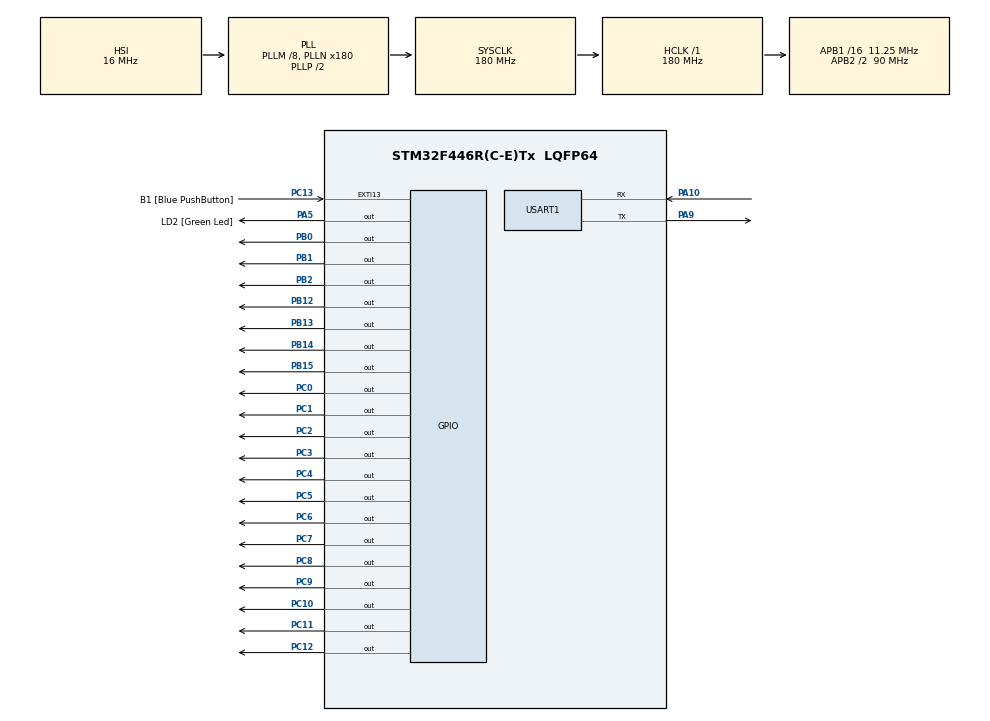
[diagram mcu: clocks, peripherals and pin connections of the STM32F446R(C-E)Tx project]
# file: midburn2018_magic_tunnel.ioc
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Mcu.Family=STM32F4
Mcu.Name=STM32F446R(C-E)Tx
Mcu.Package=LQFP64
NVIC.EXTI15_10_IRQn=true\:0\:0\:false\:false\:true\:true
NVIC.PriorityGroup=NVIC_PRIORITYGROUP_0
NVIC.TIM3_IRQn=true\:0\:0\:false\:false\:true\:true
NVIC.USART1_IRQn=true\:0\:0\:false\:false\:true\:true
PA10.Mode=Asynchronous
PA10.Signal=USART1_RX
PA13.GPIO_Label=TMS
PA13.Mode=Serial_Wire
PA13.Signal=SYS_JTMS-SWDIO
PA14.GPIO_Label=TCK
PA14.Mode=Serial_Wire
PA14.Signal=SYS_JTCK-SWCLK
PA2.Signal=USART2_TX
PA3.Signal=USART2_RX
PA5.GPIO_Label=LD2 [Green Led]
PA5.Signal=GPIO_Output
PA9.Mode=Asynchronous
PA9.Signal=USART1_TX
PB0.Signal=GPIO_Output
PB1.Signal=GPIO_Output
PB12.Signal=GPIO_Output
PB13.Signal=GPIO_Output
PB14.Signal=GPIO_Output
PB15.Signal=GPIO_Output
PB2.Signal=GPIO_Output
PB3.GPIO_Label=SWO
PB3.Signal=SYS_JTDO-SWO
PC0.Signal=GPIO_Output
PC1.Signal=GPIO_Output
PC10.Signal=GPIO_Output
PC11.Signal=GPIO_Output
PC12.Signal=GPIO_Output
PC13.GPIO_Label=B1 [Blue PushButton]
PC13.GPIO_ModeDefaultEXTI=GPIO_MODE_IT_FALLING
PC13.Signal=GPXTI13
PC14-OSC32_IN.Mode=LSE-External-Oscillator
PC14-OSC32_IN.Signal=RCC_OSC32_IN
PC15-OSC32_OUT.Mode=LSE-External-Oscillator
PC15-OSC32_OUT.Signal=RCC_OSC32_OUT
PC2.Signal=GPIO_Output
PC3.Signal=GPIO_Output
PC4.Signal=GPIO_Output
PC5.Signal=GPIO_Output
PC6.Signal=GPIO_Output
PC7.Signal=GPIO_Output
PC8.Signal=GPIO_Output
PC9.Signal=GPIO_Output
PH0-OSC_IN.Mode=HSE-External-Oscillator
PH0-OSC_IN.Signal=RCC_OSC_IN
PH1-OSC_OUT.Mode=HSE-External-Oscillator
PH1-OSC_OUT.Signal=RCC_OSC_OUT
ProjectManager.HeapSize=0x200
ProjectManager.StackSize=0x400
ProjectManager.TargetToolchain=TrueSTUDIO
RCC.48MHZClocksFreq_Value=84000000
RCC.AHBFreq_Value=180000000
RCC.APB1CLKDivider=RCC_HCLK_DIV16
RCC.APB1Freq_Value=11250000
RCC.APB1TimFreq_Value=22500000
RCC.APB2CLKDivider=RCC_HCLK_DIV2
RCC.APB2Freq_Value=90000000
RCC.APB2TimFreq_Value=180000000
RCC.CortexFreq_Value=180000000
RCC.FLatency-AdvancedSettings=FLASH_LATENCY_5
RCC.HCLKFreq_Value=180000000
RCC.HSE_VALUE=8000000
RCC.HSI_VALUE=16000000
RCC.PLLM=8
RCC.PLLN=180
RCC.SYSCLKFreq_VALUE=180000000
RCC.SYSCLKSource=RCC_SYSCLKSOURCE_PLLCLK
RCC.USBFreq_Value=180000000
RCC.VCOOutputFreq_Value=360000000
TIM3.ClockDivision=TIM_CLOCKDIVISION_DIV4
TIM3.Period=10000
TIM3.Prescaler=45000
USART1.VirtualMode=VM_ASYNC
VP_TIM3_VS_ClockSourceINT.Mode=Internal
board=NUCLEO-F446RE

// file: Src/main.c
/**
  ******************************************************************************
  * @file           : main.c
  * @brief          : Main program body
  ******************************************************************************
  ** This notice applies to any and all portions of this file
  * that are not between comment pairs USER CODE BEGIN and
  * USER CODE END. Other portions of this file, whether
  * inserted by the user or by software development tools
  * are owned by their respective copyright owners.
  *
  * COPYRIGHT(c) 2018 STMicroelectronics
  *
  * Redistribution and use in source and binary forms, with or without modification,
  * are permitted provided that the following conditions are met:
  *   1. Redistributions of source code must retain the above copyright notice,
  *      this list of conditions and the following disclaimer.
  *   2. Redistributions in binary form must reproduce the above copyright notice,
  *      this list of conditions and the following disclaimer in the documentation
  *      and/or other materials provided with the distribution.
  *   3. Neither the name of STMicroelectronics nor the names of its contributors
  *      may be used to endorse or promote products derived from this software
  *      without specific prior written permission.
  *
  * THIS SOFTWARE IS PROVIDED BY THE COPYRIGHT HOLDERS AND CONTRIBUTORS "AS IS"
  * AND ANY EXPRESS OR IMPLIED WARRANTIES, INCLUDING, BUT NOT LIMITED TO, THE
  * IMPLIED WARRANTIES OF MERCHANTABILITY AND FITNESS FOR A PARTICULAR PURPOSE ARE
  * DISCLAIMED. IN NO EVENT SHALL THE COPYRIGHT HOLDER OR CONTRIBUTORS BE LIABLE
  * FOR ANY DIRECT, INDIRECT, INCIDENTAL, SPECIAL, EXEMPLARY, OR CONSEQUENTIAL
  * DAMAGES (INCLUDING, BUT NOT LIMITED TO, PROCUREMENT OF SUBSTITUTE GOODS OR
  * SERVICES; LOSS OF USE, DATA, OR PROFITS; OR BUSINESS INTERRUPTION) HOWEVER
  * CAUSED AND ON ANY THEORY OF LIABILITY, WHETHER IN CONTRACT, STRICT LIABILITY,
  * OR TORT (INCLUDING NEGLIGENCE OR OTHERWISE) ARISING IN ANY WAY OUT OF THE USE
  * OF THIS SOFTWARE, EVEN IF ADVISED OF THE POSSIBILITY OF SUCH DAMAGE.
  *
  ******************************************************************************
  */
#include "main.h"
#include "stm32f4xx_hal.h"
#include "tim.h"
#include "usart.h"
#include "gpio.h"

/* USER CODE BEGIN Includes */
#include "ws2812b_multi_strip_driver.h"
#include "LED_shows.h"
#include "stdio.h"
#include "LED_cntrl_hci.h"
#include "scheduler.h"
#include "side_clouds.h"
/* USER CODE END Includes */

/* USER CODE BEGIN PV */
/* Private variables ---------------------------------------------------------*/
extern volatile show_db_t shows[NUM_OF_SHOWS];

show_cb_function shows_cb_functions[NUM_OF_SHOWS] = {snake_show_0, snake_show_1, snake_show_2, teady_bear, MeteorShow};
/* choose system type */
system_type_e system_type = SYSTEM_TYPE_TUNNEL;
//system_type_e system_type = SYSTEM_TYPE_SIDE_CLOUDS;
//system_type_e system_type = SYSTEM_TYPE_CLOUDS;

/* USER CODE END PV */

void SystemClock_Config(void);

/* USER CODE BEGIN PFP */
/* Private function prototypes -----------------------------------------------*/

/* USER CODE END PFP */

/* USER CODE BEGIN 0 */
/**
  * @brief  EXTI line detection callbacks. This function takes care of GPIOs changing states like the blue button.
  * @param  GPIO_Pin Specifies the pins connected EXTI line
  * @retval None
  */
void HAL_GPIO_EXTI_Callback(uint16_t GPIO_Pin)
{
/*    if (GPIO_Pin==B1_Pin)
    {
        if (shows[SHOWS_SNAKE_0].status == SHOW_STATUS_DISABLED)
        {
            shows[SHOWS_SNAKE_0].status = SHOW_STATUS_START;
        }
        else if (shows[SHOWS_SNAKE_0].status == SHOW_STATUS_RUNNING)
        {
            shows[SHOWS_SNAKE_0].status = SHOW_STATUS_STOP;
        }
    }*/
}

/* USER CODE END 0 */

int main(void)
{

  /* MCU Configuration----------------------------------------------------------*/

  /* Reset of all peripherals, Initializes the Flash interface and the Systick. */
  HAL_Init();

  /* Configure the system clock */
  SystemClock_Config();

  /* Initialize all configured peripherals */
  MX_GPIO_Init();
  MX_USART1_UART_Init();
  MX_TIM3_Init();
  /* USER CODE BEGIN 2 */
  init_LED_strips();
  init_shows();
  init_HCI_UART(&huart1);
  if (system_type == SYSTEM_TYPE_TUNNEL)
  {
      init_scheduler();
  }
  else if (system_type == SYSTEM_TYPE_SIDE_CLOUDS)
  {
      init_side_clouds_show();
  }
  else if (system_type == SYSTEM_TYPE_CLOUDS)
  {
      init_clouds();
      /* update shows db */
      shows[0].direction = REGULAR_DIRECTION;
      shows[0].max_power = DEFAULT_MAX_POWER;
      shows[0].status = SHOW_STATUS_RUNNING;

  }
  /* USER CODE END 2 */

  /* Infinite loop */
  /* USER CODE BEGIN WHILE */
  while (1)
  {
      uint8_t show_idx;

  /* USER CODE END WHILE */

  /* USER CODE BEGIN 3 */
      if (system_type == SYSTEM_TYPE_TUNNEL)
      {
          for (show_idx=0; show_idx<NUM_OF_SHOWS; show_idx++)
          {
              if (shows[show_idx].status == SHOW_STATUS_START)
              {
                  shows[show_idx].status = SHOW_STATUS_RUNNING;
                  shows_cb_functions[show_idx]();
                  if (shows[show_idx].status == SHOW_STATUS_STOP)
                  {
                      shows[show_idx].status = SHOW_STATUS_DISABLED;
                  }
              }
          }
      }
      else if (system_type == SYSTEM_TYPE_SIDE_CLOUDS)
      {
          side_clouds_show();
      }
      else if (system_type == SYSTEM_TYPE_CLOUDS)
      {
          snake_show_0();
      }

  }
  /* USER CODE END 3 */

}

void SystemClock_Config(void)
{

  RCC_OscInitTypeDef RCC_OscInitStruct;
  RCC_ClkInitTypeDef RCC_ClkInitStruct;

    /**Configure the main internal regulator output voltage
    */
  __HAL_RCC_PWR_CLK_ENABLE();

  __HAL_PWR_VOLTAGESCALING_CONFIG(PWR_REGULATOR_VOLTAGE_SCALE1);

    /**Initializes the CPU, AHB and APB busses clocks
    */
  RCC_OscInitStruct.OscillatorType = RCC_OSCILLATORTYPE_HSI;
  RCC_OscInitStruct.HSIState = RCC_HSI_ON;
  RCC_OscInitStruct.HSICalibrationValue = 16;
  RCC_OscInitStruct.PLL.PLLState = RCC_PLL_ON;
  RCC_OscInitStruct.PLL.PLLSource = RCC_PLLSOURCE_HSI;
  RCC_OscInitStruct.PLL.PLLM = 8;
  RCC_OscInitStruct.PLL.PLLN = 180;
  RCC_OscInitStruct.PLL.PLLP = RCC_PLLP_DIV2;
  RCC_OscInitStruct.PLL.PLLQ = 2;
  RCC_OscInitStruct.PLL.PLLR = 2;
  if (HAL_RCC_OscConfig(&RCC_OscInitStruct) != HAL_OK)
  {
    _Error_Handler(__FILE__, __LINE__);
  }

    /**Activate the Over-Drive mode
    */
  if (HAL_PWREx_EnableOverDrive() != HAL_OK)
  {
    _Error_Handler(__FILE__, __LINE__);
  }

    /**Initializes the CPU, AHB and APB busses clocks
    */
  RCC_ClkInitStruct.ClockType = RCC_CLOCKTYPE_HCLK|RCC_CLOCKTYPE_SYSCLK
                              |RCC_CLOCKTYPE_PCLK1|RCC_CLOCKTYPE_PCLK2;
  RCC_ClkInitStruct.SYSCLKSource = RCC_SYSCLKSOURCE_PLLCLK;
  RCC_ClkInitStruct.AHBCLKDivider = RCC_SYSCLK_DIV1;
  RCC_ClkInitStruct.APB1CLKDivider = RCC_HCLK_DIV16;
  RCC_ClkInitStruct.APB2CLKDivider = RCC_HCLK_DIV2;

  if (HAL_RCC_ClockConfig(&RCC_ClkInitStruct, FLASH_LATENCY_5) != HAL_OK)
  {
    _Error_Handler(__FILE__, __LINE__);
  }

    /**Configure the Systick interrupt time
    */
  HAL_SYSTICK_Config(HAL_RCC_GetHCLKFreq()/1000);

    /**Configure the Systick
    */
  HAL_SYSTICK_CLKSourceConfig(SYSTICK_CLKSOURCE_HCLK);

  /* SysTick_IRQn interrupt configuration */
  HAL_NVIC_SetPriority(SysTick_IRQn, 0, 0);
}

void _Error_Handler(char *file, int line)
{
  while(1)
  {
  }
}

/************************ (C) COPYRIGHT STMicroelectronics *****END OF FILE****/
